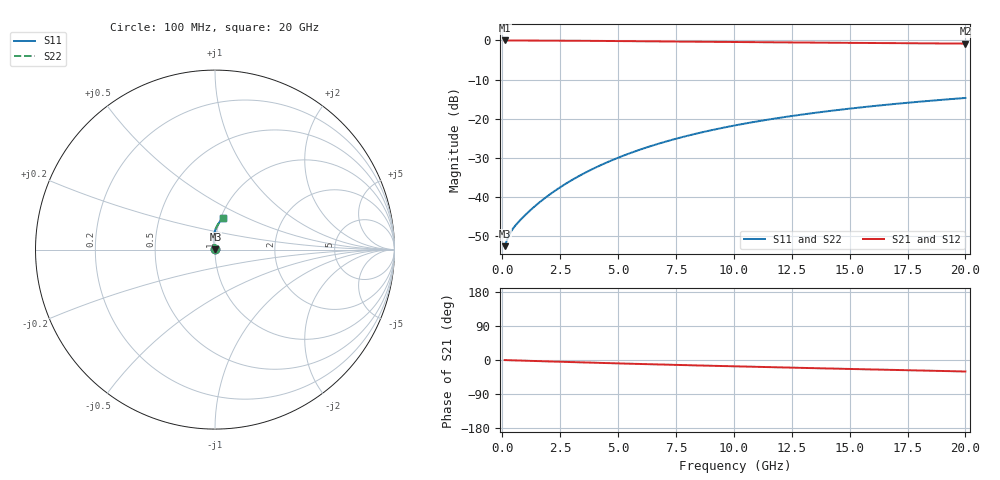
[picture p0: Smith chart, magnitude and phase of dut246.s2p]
! Touchstone file exported from HFSS 2024.1.0
!  File:  C:/UserFiles/LocalFiles/RDL_TSV_Batchsim/temp_RDL_bottom_246_1778701472.aedt
!  Generated:  03:46:58 AM May 14, 2026
!  Design:  RDL_bottom
!  Project:  temp_RDL_bottom_246_1778701472
!  Setup:  Setup1
!  Solution:  Sweep
! Variables:
!  dtsv = 10.80580581um
!  hbump = 3um
!  htsv = 72.15um
!  ldown = 505.58um
!  lrdl = 100um
!  p = 40
!  p1 = 41.3um
!  rhole = 1um
!  t = 450um
!  tdown = 3.2um
!  trdl = 3.915915916um
!  wdown = 29.38um
!  wrdl = 20um
# GHz S MA R 50.000000
! Terminal data exported
! Port[1] = RDL1_T1
! Port[2] = RDL1_T2
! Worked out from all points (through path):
!   200 points, 100 MHz to 20 GHz, reference 50 ohm
!   highest |S21| = -0.02 dB at 100 MHz (marker M1); lowest = -0.8 dB at 20 GHz (marker M2)
!   group delay of S21, straight-line fit = 4.14 ps
!   lowest |S11| = -52.6 dB at 100 MHz (marker M3), VSWR 1.00, Z = 50.2 + j0.0799 ohm
!   |S11| at or under -10 dB: start of sweep to end of sweep
!   |S22| runs from -52.6 to -14.7 dB; largest |S21 - S12| = 3.1e-15
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0.1  0.002354 19.8  0.9978 -0.2  0.9978 -0.2  0.002354 19.8
! Gamma 0 0 0 0
! Port Impedance 50 0 50 0
0.2  0.00282 31.5  0.9975 -0.4  0.9975 -0.4  0.00282 31.5
0.3  0.003292 38.1  0.9973 -0.6  0.9973 -0.6  0.003292 38.1
0.4  0.00371 42.7  0.9971 -0.8  0.9971 -0.8  0.00371 42.7
0.5  0.004087 46.7  0.9969 -1.0  0.9969 -1.0  0.004088 46.7
0.8  0.005162 56.9  0.9963 -1.5  0.9963 -1.5  0.005163 56.9
1.2  0.006724 67.8  0.9956 -2.3  0.9956 -2.3  0.006725 67.8
1.7  0.008989 77.6  0.9944 -3.2  0.9944 -3.2  0.008989 77.5
2.3  0.01215 85.5  0.9926 -4.3  0.9926 -4.3  0.01215 85.5
2.9  0.01577 90.8  0.9904 -5.4  0.9904 -5.4  0.01577 90.8
3.5  0.01983 94.4  0.9879 -6.4  0.9879 -6.4  0.01983 94.4
4.2  0.02509 97.0  0.9845 -7.6  0.9845 -7.6  0.02508 97.0
5  0.03171 98.6  0.9803 -9.0  0.9803 -9.0  0.0317 98.5
5.9  0.0398 99.1  0.9754 -10.4  0.9754 -10.4  0.03979 99.0
6.8  0.04844 98.7  0.9704 -11.9  0.9704 -11.9  0.04842 98.7
8.4  0.06468 96.9  0.9615 -14.3  0.9615 -14.3  0.06465 96.8
10.1  0.08262 94.0  0.9525 -16.8  0.9525 -16.8  0.08257 94.0
11.7  0.09968 91.0  0.9445 -19.1  0.9445 -19.1  0.09963 90.9
13.4  0.1177 87.7  0.9366 -21.5  0.9366 -21.5  0.1176 87.6
15  0.1344 84.5  0.9296 -23.6  0.9296 -23.6  0.1343 84.5
16.7  0.1517 81.3  0.9226 -25.9  0.9226 -25.9  0.1516 81.2
20  0.1839 75.3  0.9097 -30.3  0.9097 -30.3  0.1838 75.2
